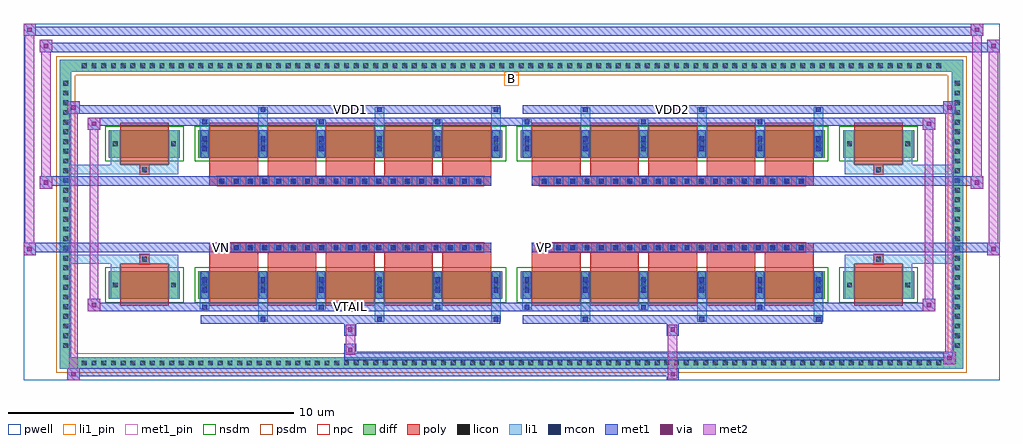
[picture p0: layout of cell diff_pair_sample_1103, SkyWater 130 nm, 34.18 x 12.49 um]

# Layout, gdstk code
import gdstk
lib = gdstk.Library(unit=1e-6, precision=5e-09)
def R(c, l, rs):  # rectangles x0, y0, x1, y1
    for r in rs: c.add(gdstk.rectangle(r[:2], r[2:], *l))
def A(c, l, x, y, w, h, nx, ny, dx, dy):  # array of equal rectangles
    R(c, l, [(x+i*dx, y+j*dy, x+i*dx+w, y+j*dy+h) for i in range(nx) for j in range(ny)])
def P(c, l, *ps):  # polygons
    for p in ps: c.add(gdstk.Polygon(p, *l))
pwell = (64, 44)
diff = (65, 20)
poly = (66, 20)
licon = (66, 44)
li1_pin = (67, 16)
li1 = (67, 20)
mcon = (67, 44)
met1_pin = (68, 16)
met1 = (68, 20)
via = (68, 44)
met2 = (69, 20)
nsdm = (93, 44)
psdm = (94, 20)
npc = (95, 20)

diff_pair_sample_1103 = lib.new_cell('diff_pair_sample_1103')
R(diff_pair_sample_1103, pwell, [(-17.09,-5.81,17.09,6.68), (-14.41,-4,-0.01,-0.8), (0.01,-4,14.41,-0.8), (-14.41,0.8,-0.01,4), (0.01,0.8,14.41,4)])
A(diff_pair_sample_1103, diff, -15.165, -5.41, 0.41, 0.41, 89, 2, 0.34, 10.41)
A(diff_pair_sample_1103, diff, -15.82, -4.795, 0.41, 0.41, 1, 28, 0, 0.34)
A(diff_pair_sample_1103, diff, 15.41, -4.795, 0.41, 0.41, 1, 28, 0, 0.34)
R(diff_pair_sample_1103, diff, [(-15.165,-5.41,15.165,-5), (-15.82,-4.795,-15.41,4.795), (15.41,-4.795,15.82,4.795), (-14.1,-2.955,-11.61,-1.985), (-10.97,-2.955,-0.32,-1.985), (0.32,-2.955,10.97,-1.985), (11.61,-2.955,14.1,-1.985), (-14.1,1.985,-11.61,2.955), (-10.97,1.985,-0.32,2.955), (0.32,1.985,10.97,2.955), (11.61,1.985,14.1,2.955), (-15.165,5,15.165,5.41)])
P(diff_pair_sample_1103, diff, [(15.82,5.41),(-15.82,5.41),(-15.82,-5),(-15.41,-5),(-15.41,5),(15.41,5),(15.41,-5),(-15.41,-5),(-15.82,-5),(-15.82,-5.41),(15.82,-5.41)])
A(diff_pair_sample_1103, poly, -10.58, -3.205, 1.71, 1.47, 5, 2, 2.04, 4.94)
A(diff_pair_sample_1103, poly, 0.71, -3.205, 1.71, 1.47, 5, 2, 2.04, 4.94)
A(diff_pair_sample_1103, poly, -10.58, -1.735, 1.71, 0.405, 5, 2, 2.04, 3.065)
A(diff_pair_sample_1103, poly, 0.71, -1.735, 1.71, 0.405, 5, 2, 2.04, 3.065)
A(diff_pair_sample_1103, poly, -10.31, -1.33, 0.33, 0.33, 19, 2, 0.5, 2.33)
A(diff_pair_sample_1103, poly, 0.98, -1.33, 0.33, 0.33, 19, 2, 0.5, 2.33)
R(diff_pair_sample_1103, poly, [(-13.71,-3.205,-12,-1.735), (12,-3.205,13.71,-1.735), (-13.02,-1.735,-12.69,-1.405), (-13.02,-1.735,-12.69,-1.405), (12.69,-1.735,13.02,-1.405), (12.69,-1.735,13.02,-1.405), (-10.58,-1.33,-0.71,-1), (0.71,-1.33,10.58,-1), (-10.58,1,-0.71,1.33), (0.71,1,10.58,1.33), (-13.02,1.405,-12.69,1.735), (-13.02,1.405,-12.69,1.735), (12.69,1.405,13.02,1.735), (12.69,1.405,13.02,1.735), (-13.71,1.735,-12,3.205), (12,1.735,13.71,3.205)])
A(diff_pair_sample_1103, licon, -15.045, -5.29, 0.17, 0.17, 89, 2, 0.34, 10.41)
A(diff_pair_sample_1103, licon, -15.7, -4.675, 0.17, 0.17, 1, 28, 0, 0.34)
A(diff_pair_sample_1103, licon, 15.53, -4.675, 0.17, 0.17, 1, 28, 0, 0.34)
A(diff_pair_sample_1103, licon, -10.83, -2.555, 0.17, 0.17, 6, 2, 2.04, 4.94)
A(diff_pair_sample_1103, licon, 0.46, -2.555, 0.17, 0.17, 6, 2, 2.04, 4.94)
A(diff_pair_sample_1103, licon, -10.23, -1.25, 0.17, 0.17, 19, 2, 0.5, 2.33)
A(diff_pair_sample_1103, licon, 1.06, -1.25, 0.17, 0.17, 19, 2, 0.5, 2.33)
R(diff_pair_sample_1103, licon, [(-13.96,-2.555,-13.79,-2.385), (-11.92,-2.555,-11.75,-2.385), (11.75,-2.555,11.92,-2.385), (13.79,-2.555,13.96,-2.385), (-12.94,-1.655,-12.77,-1.485), (12.77,-1.655,12.94,-1.485), (-12.94,1.485,-12.77,1.655), (12.77,1.485,12.94,1.655), (-13.96,2.385,-13.79,2.555), (-11.92,2.385,-11.75,2.555), (11.75,2.385,11.92,2.555), (13.79,2.385,13.96,2.555)])
R(diff_pair_sample_1103, li1_pin, [(-0.25,4.5,0.25,5)])
A(diff_pair_sample_1103, li1, -15.125, -5.37, 0.33, 0.33, 89, 2, 0.34, 10.41)
A(diff_pair_sample_1103, li1, -15.78, -4.755, 0.33, 0.33, 1, 28, 0, 0.34)
A(diff_pair_sample_1103, li1, 15.45, -4.755, 0.33, 0.33, 1, 28, 0, 0.34)
A(diff_pair_sample_1103, li1, -8.87, -3.76, 0.33, 0.805, 3, 2, 4.08, 6.715)
A(diff_pair_sample_1103, li1, -8.79, -3.76, 0.17, 0.17, 3, 2, 4.08, 7.35)
A(diff_pair_sample_1103, li1, 2.42, -3.76, 0.33, 0.805, 3, 2, 4.08, 6.715)
A(diff_pair_sample_1103, li1, 2.5, -3.76, 0.17, 0.17, 3, 2, 4.08, 7.35)
A(diff_pair_sample_1103, li1, -10.91, -3.33, 0.33, 0.375, 3, 2, 4.08, 6.285)
A(diff_pair_sample_1103, li1, -10.83, -3.33, 0.17, 0.17, 3, 2, 4.08, 6.49)
A(diff_pair_sample_1103, li1, 0.38, -3.33, 0.33, 0.375, 3, 2, 4.08, 6.285)
A(diff_pair_sample_1103, li1, 0.46, -3.33, 0.17, 0.17, 3, 2, 4.08, 6.49)
A(diff_pair_sample_1103, li1, -10.91, -2.955, 0.33, 0.97, 6, 2, 2.04, 4.94)
A(diff_pair_sample_1103, li1, 0.38, -2.955, 0.33, 0.97, 6, 2, 2.04, 4.94)
A(diff_pair_sample_1103, li1, -10.83, -2.735, 0.17, 0.17, 6, 2, 2.04, 0.36)
A(diff_pair_sample_1103, li1, -10.83, -2.735, 0.17, 0.53, 6, 2, 2.04, 4.94)
A(diff_pair_sample_1103, li1, 0.46, -2.735, 0.17, 0.17, 6, 2, 2.04, 0.36)
A(diff_pair_sample_1103, li1, 0.46, -2.735, 0.17, 0.53, 6, 2, 2.04, 4.94)
A(diff_pair_sample_1103, li1, -10.91, -2.635, 0.33, 0.33, 6, 2, 2.04, 4.94)
A(diff_pair_sample_1103, li1, 0.38, -2.635, 0.33, 0.33, 6, 2, 2.04, 4.94)
A(diff_pair_sample_1103, li1, -10.31, -1.33, 0.33, 0.33, 19, 2, 0.5, 2.33)
A(diff_pair_sample_1103, li1, 0.98, -1.33, 0.33, 0.33, 19, 2, 0.5, 2.33)
A(diff_pair_sample_1103, li1, -10.83, 2.205, 0.17, 0.17, 6, 2, 2.04, 0.36)
A(diff_pair_sample_1103, li1, 0.46, 2.205, 0.17, 0.17, 6, 2, 2.04, 0.36)
R(diff_pair_sample_1103, li1, [(-15.82,-5.41,-15.41,-5), (-15.82,-5.41,-15.41,-5), (-15.41,-5.41,15.41,-5), (15.41,-5.41,15.82,-5), (15.41,-5.41,15.82,-5), (-15.82,-5,-15.41,5), (15.41,-5,15.82,5), (-14.04,-2.955,-13.71,-1.985), (-12,-2.955,-11.67,-1.985), (11.67,-2.955,12,-1.985), (13.71,-2.955,14.04,-1.985), (-14.04,-2.635,-13.71,-2.305), (-12,-2.635,-11.67,-2.305), (11.67,-2.635,12,-2.305), (13.71,-2.635,14.04,-2.305), (-14.04,-1.985,-13.71,-1.405), (-12,-1.985,-11.67,-1.405), (11.67,-1.985,12,-1.405), (13.71,-1.985,14.04,-1.405), (-15.82,-1.735,-13.02,-1.405), (-14.04,-1.735,-13.02,-1.405), (-13.02,-1.735,-12.69,-1.405), (-12.69,-1.735,-11.67,-1.405), (11.67,-1.735,12.69,-1.405), (12.69,-1.735,13.02,-1.405), (12.69,-1.735,15.82,-1.405), (13.02,-1.735,14.04,-1.405), (-15.82,1.405,-13.02,1.735), (-14.04,1.405,-13.02,1.735), (-14.04,1.405,-13.71,1.985), (-13.02,1.405,-12.69,1.735), (-12.69,1.405,-11.67,1.735), (-12,1.405,-11.67,1.985), (11.67,1.405,12.69,1.735), (11.67,1.405,12,1.985), (12.69,1.405,13.02,1.735), (12.69,1.405,15.82,1.735), (13.02,1.405,14.04,1.735), (13.71,1.405,14.04,1.985), (-14.04,1.985,-13.71,2.955), (-12,1.985,-11.67,2.955), (11.67,1.985,12,2.955), (13.71,1.985,14.04,2.955), (-14.04,2.305,-13.71,2.635), (-12,2.305,-11.67,2.635), (11.67,2.305,12,2.635), (13.71,2.305,14.04,2.635), (-15.82,5,-15.41,5.41), (-15.82,5,-15.41,5.41), (-15.41,5,15.41,5.41), (15.41,5,15.82,5.41), (15.41,5,15.82,5.41)])
A(diff_pair_sample_1103, mcon, -8.79, -3.76, 0.17, 0.17, 3, 2, 4.08, 7.35)
A(diff_pair_sample_1103, mcon, 2.5, -3.76, 0.17, 0.17, 3, 2, 4.08, 7.35)
A(diff_pair_sample_1103, mcon, -10.83, -3.33, 0.17, 0.17, 3, 2, 4.08, 6.49)
A(diff_pair_sample_1103, mcon, 0.46, -3.33, 0.17, 0.17, 3, 2, 4.08, 6.49)
A(diff_pair_sample_1103, mcon, -10.83, -2.735, 0.17, 0.17, 6, 2, 2.04, 0.36)
A(diff_pair_sample_1103, mcon, 0.46, -2.735, 0.17, 0.17, 6, 2, 2.04, 0.36)
A(diff_pair_sample_1103, mcon, -10.23, -1.25, 0.17, 0.17, 19, 2, 0.5, 2.33)
A(diff_pair_sample_1103, mcon, 1.06, -1.25, 0.17, 0.17, 19, 2, 0.5, 2.33)
A(diff_pair_sample_1103, mcon, -10.83, 2.205, 0.17, 0.17, 6, 2, 2.04, 0.36)
A(diff_pair_sample_1103, mcon, 0.46, 2.205, 0.17, 0.17, 6, 2, 2.04, 0.36)
R(diff_pair_sample_1103, met1_pin, [(-5.78,-3.37,-5.51,-3.1), (-10.28,-1.29,-10.01,-1.02), (1.01,-1.29,1.28,-1.02), (-5.78,3.55,-5.51,3.82), (5.51,3.55,5.78,3.82)])
A(diff_pair_sample_1103, met1, -8.85, -3.82, 0.29, 0.29, 3, 2, 4.08, 7.35)
A(diff_pair_sample_1103, met1, 2.44, -3.82, 0.29, 0.29, 3, 2, 4.08, 7.35)
A(diff_pair_sample_1103, met1, -10.89, -3.39, 0.29, 0.29, 3, 2, 4.08, 6.49)
A(diff_pair_sample_1103, met1, 0.4, -3.39, 0.29, 0.29, 3, 2, 4.08, 6.49)
A(diff_pair_sample_1103, met1, -10.89, -2.955, 0.29, 0.97, 6, 2, 2.04, 4.94)
A(diff_pair_sample_1103, met1, 0.4, -2.955, 0.29, 0.97, 6, 2, 2.04, 4.94)
A(diff_pair_sample_1103, met1, -10.89, -2.795, 0.29, 0.29, 6, 2, 2.04, 0.36)
A(diff_pair_sample_1103, met1, 0.4, -2.795, 0.29, 0.29, 6, 2, 2.04, 0.36)
A(diff_pair_sample_1103, met1, -10.29, -1.31, 0.29, 0.29, 19, 2, 0.5, 2.33)
A(diff_pair_sample_1103, met1, 1, -1.31, 0.29, 0.29, 19, 2, 0.5, 2.33)
A(diff_pair_sample_1103, met1, -10.89, 2.145, 0.29, 0.29, 6, 2, 2.04, 0.36)
A(diff_pair_sample_1103, met1, 0.4, 2.145, 0.29, 0.29, 6, 2, 2.04, 0.36)
R(diff_pair_sample_1103, met1, [(-15.55,-5.81,-15.12,-5.38), (5.43,-5.81,5.86,-5.38), (-15.55,-5.67,5.86,-5.38), (15.12,-5.24,15.55,-4.81), (-5.86,-5.1,15.55,-4.81), (-5.86,-4.96,-5.43,-4.53), (-5.86,-4.25,-5.43,-3.82), (5.43,-4.25,5.86,-3.82), (-10.89,-3.82,-0.4,-3.53), (0.4,-3.82,10.89,-3.53), (-14.84,-3.39,-14.41,-2.96), (-14.84,-3.39,-10.89,-3.1), (-10.89,-3.39,-0.4,-3.1), (-0.4,-3.39,0.4,-3.1), (0.4,-3.39,10.89,-3.1), (10.89,-3.39,14.84,-3.1), (14.41,-3.39,14.84,-2.96), (-17.09,-1.43,-16.66,-1), (16.66,-1.43,17.09,-1), (-17.09,-1.33,-0.71,-1), (-10.58,-1.33,-0.71,-1), (0.71,-1.33,10.58,-1), (0.71,-1.33,17.09,-1), (-16.52,0.9,-16.09,1.33), (16.09,0.9,16.52,1.33), (-16.52,1,-10.58,1.33), (-10.58,1,-0.71,1.33), (0.71,1,10.58,1.33), (10.58,1,16.52,1.33), (-14.84,2.96,-14.41,3.39), (14.41,2.96,14.84,3.39), (-14.84,3.1,-10.89,3.39), (-10.89,3.1,-0.4,3.39), (-0.4,3.1,0.4,3.39), (0.4,3.1,10.89,3.39), (10.89,3.1,14.84,3.39), (-15.55,3.53,-15.12,3.96), (-15.55,3.53,-10.89,3.82), (-10.89,3.53,-0.4,3.82), (0.4,3.53,10.89,3.82), (10.89,3.53,15.55,3.82), (15.12,3.53,15.55,3.96), (-16.52,5.68,-16.09,6.11), (-16.52,5.68,-14.41,6.01), (-14.41,5.68,14.41,6.01), (14.41,5.68,17.09,6.01), (16.66,5.68,17.09,6.11), (-17.09,6.25,-16.66,6.68), (-17.09,6.25,-14.41,6.58), (-14.41,6.25,14.41,6.58), (14.41,6.25,16.52,6.58), (16.09,6.25,16.52,6.68)])
R(diff_pair_sample_1103, via, [(-15.41,-5.67,-15.26,-5.52), (5.57,-5.67,5.72,-5.52), (15.26,-5.1,15.41,-4.95), (-5.72,-4.82,-5.57,-4.67), (-5.72,-4.11,-5.57,-3.96), (5.57,-4.11,5.72,-3.96), (-14.7,-3.25,-14.55,-3.1), (14.55,-3.25,14.7,-3.1), (-16.95,-1.29,-16.8,-1.14), (16.8,-1.29,16.95,-1.14), (-16.38,1.04,-16.23,1.19), (16.23,1.04,16.38,1.19), (-14.7,3.1,-14.55,3.25), (14.55,3.1,14.7,3.25), (-15.41,3.67,-15.26,3.82), (15.26,3.67,15.41,3.82), (-16.38,5.82,-16.23,5.97), (16.8,5.82,16.95,5.97), (-16.95,6.39,-16.8,6.54), (16.23,6.39,16.38,6.54)])
R(diff_pair_sample_1103, met2, [(-15.55,-5.81,-15.12,-5.38), (-15.48,-5.81,-15.19,3.96), (-15.19,-5.81,-15.12,-5.38), (-15.5,-5.76,-15.17,-5.43), (5.48,-5.76,5.81,-5.43), (5.48,-5.43,5.81,-4.2), (15.12,-5.24,15.55,-4.81), (15.19,-5.24,15.48,3.96), (15.48,-5.24,15.55,-4.81), (15.17,-5.19,15.5,-4.86), (-5.81,-4.91,-5.48,-4.58), (-5.81,-4.58,-5.48,-4.2), (-5.81,-4.2,-5.48,-3.87), (5.48,-4.2,5.81,-3.87), (-14.84,-3.39,-14.41,-2.96), (-14.77,-3.39,-14.48,3.39), (-14.48,-3.39,-14.41,-2.96), (14.41,-3.39,14.84,-2.96), (14.48,-3.39,14.77,3.39), (14.77,-3.39,14.84,-2.96), (-14.79,-3.34,-14.46,-3.01), (14.46,-3.34,14.79,-3.01), (-17.09,-1.43,-16.66,-1), (-17.04,-1.43,-16.71,6.68), (-16.71,-1.43,-16.66,-1), (16.66,-1.43,17.09,-1), (16.71,-1.43,17.04,6.11), (17.04,-1.43,17.09,-1), (-17.04,-1.38,-16.71,-1.05), (16.71,-1.38,17.04,-1.05), (-16.52,0.9,-16.09,1.33), (-16.47,0.9,-16.14,6.11), (-16.14,0.9,-16.09,1.33), (16.09,0.9,16.52,1.33), (16.14,0.9,16.47,6.68), (16.47,0.9,16.52,1.33), (-16.47,0.95,-16.14,1.28), (16.14,0.95,16.47,1.28), (-14.84,2.96,-14.41,3.39), (-14.48,2.96,-14.41,3.39), (14.41,2.96,14.84,3.39), (14.77,2.96,14.84,3.39), (-14.79,3.01,-14.46,3.34), (14.46,3.01,14.79,3.34), (-15.55,3.53,-15.12,3.96), (-15.19,3.53,-15.12,3.96), (15.12,3.53,15.55,3.96), (15.48,3.53,15.55,3.96), (-15.5,3.58,-15.17,3.91), (15.17,3.58,15.5,3.91), (-16.52,5.68,-16.09,6.11), (-16.14,5.68,-16.09,6.11), (16.66,5.68,17.09,6.11), (17.04,5.68,17.09,6.11), (-16.47,5.73,-16.14,6.06), (16.71,5.73,17.04,6.06), (-17.09,6.25,-16.66,6.68), (-16.71,6.25,-16.66,6.68), (16.09,6.25,16.52,6.68), (16.47,6.25,16.52,6.68), (-17.04,6.3,-16.71,6.63), (16.14,6.3,16.47,6.63)])
R(diff_pair_sample_1103, nsdm, [(-14.23,-3.085,-11.48,-1.855), (-11.1,-3.085,-0.19,-1.855), (0.19,-3.085,11.1,-1.855), (11.48,-3.085,14.23,-1.855), (-14.23,1.855,-11.48,3.085), (-11.1,1.855,-0.19,3.085), (0.19,1.855,11.1,3.085), (11.48,1.855,14.23,3.085)])
P(diff_pair_sample_1103, psdm, [(15.95,5.54),(-15.95,5.54),(-15.95,-4.87),(-15.28,-4.87),(-15.28,4.87),(15.28,4.87),(15.28,-4.87),(-15.28,-4.87),(-15.95,-4.87),(-15.95,-5.54),(15.95,-5.54)])
A(diff_pair_sample_1103, npc, -10.33, -1.35, 0.37, 0.37, 19, 2, 0.5, 2.33)
A(diff_pair_sample_1103, npc, 0.96, -1.35, 0.37, 0.37, 19, 2, 0.5, 2.33)
R(diff_pair_sample_1103, npc, [(-13.04,-1.755,-12.67,-1.385), (12.67,-1.755,13.04,-1.385), (-10.33,-1.35,-9.46,-0.98), (-10.33,-1.35,-9.46,-0.98), (-9.83,-1.35,-8.96,-0.98), (-9.83,-1.35,-8.96,-0.98), (-9.33,-1.35,-8.46,-0.98), (-9.33,-1.35,-8.46,-0.98), (-8.83,-1.35,-7.96,-0.98), (-8.83,-1.35,-7.96,-0.98), (-8.33,-1.35,-7.46,-0.98), (-8.33,-1.35,-7.46,-0.98), (-7.83,-1.35,-6.96,-0.98), (-7.83,-1.35,-6.96,-0.98), (-7.33,-1.35,-6.46,-0.98), (-7.33,-1.35,-6.46,-0.98), (-6.83,-1.35,-5.96,-0.98), (-6.83,-1.35,-5.96,-0.98), (-6.33,-1.35,-5.46,-0.98), (-6.33,-1.35,-5.46,-0.98), (-5.83,-1.35,-4.96,-0.98), (-5.83,-1.35,-4.96,-0.98), (-5.33,-1.35,-4.46,-0.98), (-5.33,-1.35,-4.46,-0.98), (-4.83,-1.35,-3.96,-0.98), (-4.83,-1.35,-3.96,-0.98), (-4.33,-1.35,-3.46,-0.98), (-4.33,-1.35,-3.46,-0.98), (-3.83,-1.35,-2.96,-0.98), (-3.83,-1.35,-2.96,-0.98), (-3.33,-1.35,-2.46,-0.98), (-3.33,-1.35,-2.46,-0.98), (-2.83,-1.35,-1.96,-0.98), (-2.83,-1.35,-1.96,-0.98), (-2.33,-1.35,-1.46,-0.98), (-2.33,-1.35,-1.46,-0.98), (-1.83,-1.35,-0.96,-0.98), (-1.83,-1.35,-0.96,-0.98), (0.96,-1.35,1.83,-0.98), (0.96,-1.35,1.83,-0.98), (1.46,-1.35,2.33,-0.98), (1.46,-1.35,2.33,-0.98), (1.96,-1.35,2.83,-0.98), (1.96,-1.35,2.83,-0.98), (2.46,-1.35,3.33,-0.98), (2.46,-1.35,3.33,-0.98), (2.96,-1.35,3.83,-0.98), (2.96,-1.35,3.83,-0.98), (3.46,-1.35,4.33,-0.98), (3.46,-1.35,4.33,-0.98), (3.96,-1.35,4.83,-0.98), (3.96,-1.35,4.83,-0.98), (4.46,-1.35,5.33,-0.98), (4.46,-1.35,5.33,-0.98), (4.96,-1.35,5.83,-0.98), (4.96,-1.35,5.83,-0.98), (5.46,-1.35,6.33,-0.98), (5.46,-1.35,6.33,-0.98), (5.96,-1.35,6.83,-0.98), (5.96,-1.35,6.83,-0.98), (6.46,-1.35,7.33,-0.98), (6.46,-1.35,7.33,-0.98), (6.96,-1.35,7.83,-0.98), (6.96,-1.35,7.83,-0.98), (7.46,-1.35,8.33,-0.98), (7.46,-1.35,8.33,-0.98), (7.96,-1.35,8.83,-0.98), (7.96,-1.35,8.83,-0.98), (8.46,-1.35,9.33,-0.98), (8.46,-1.35,9.33,-0.98), (8.96,-1.35,9.83,-0.98), (8.96,-1.35,9.83,-0.98), (9.46,-1.35,10.33,-0.98), (9.46,-1.35,10.33,-0.98), (-10.33,0.98,-9.46,1.35), (-10.33,0.98,-9.46,1.35), (-9.83,0.98,-8.96,1.35), (-9.83,0.98,-8.96,1.35), (-9.33,0.98,-8.46,1.35), (-9.33,0.98,-8.46,1.35), (-8.83,0.98,-7.96,1.35), (-8.83,0.98,-7.96,1.35), (-8.33,0.98,-7.46,1.35), (-8.33,0.98,-7.46,1.35), (-7.83,0.98,-6.96,1.35), (-7.83,0.98,-6.96,1.35), (-7.33,0.98,-6.46,1.35), (-7.33,0.98,-6.46,1.35), (-6.83,0.98,-5.96,1.35), (-6.83,0.98,-5.96,1.35), (-6.33,0.98,-5.46,1.35), (-6.33,0.98,-5.46,1.35), (-5.83,0.98,-4.96,1.35), (-5.83,0.98,-4.96,1.35), (-5.33,0.98,-4.46,1.35), (-5.33,0.98,-4.46,1.35), (-4.83,0.98,-3.96,1.35), (-4.83,0.98,-3.96,1.35), (-4.33,0.98,-3.46,1.35), (-4.33,0.98,-3.46,1.35), (-3.83,0.98,-2.96,1.35), (-3.83,0.98,-2.96,1.35), (-3.33,0.98,-2.46,1.35), (-3.33,0.98,-2.46,1.35), (-2.83,0.98,-1.96,1.35), (-2.83,0.98,-1.96,1.35), (-2.33,0.98,-1.46,1.35), (-2.33,0.98,-1.46,1.35), (-1.83,0.98,-0.96,1.35), (-1.83,0.98,-0.96,1.35), (0.96,0.98,1.83,1.35), (0.96,0.98,1.83,1.35), (1.46,0.98,2.33,1.35), (1.46,0.98,2.33,1.35), (1.96,0.98,2.83,1.35), (1.96,0.98,2.83,1.35), (2.46,0.98,3.33,1.35), (2.46,0.98,3.33,1.35), (2.96,0.98,3.83,1.35), (2.96,0.98,3.83,1.35), (3.46,0.98,4.33,1.35), (3.46,0.98,4.33,1.35), (3.96,0.98,4.83,1.35), (3.96,0.98,4.83,1.35), (4.46,0.98,5.33,1.35), (4.46,0.98,5.33,1.35), (4.96,0.98,5.83,1.35), (4.96,0.98,5.83,1.35), (5.46,0.98,6.33,1.35), (5.46,0.98,6.33,1.35), (5.96,0.98,6.83,1.35), (5.96,0.98,6.83,1.35), (6.46,0.98,7.33,1.35), (6.46,0.98,7.33,1.35), (6.96,0.98,7.83,1.35), (6.96,0.98,7.83,1.35), (7.46,0.98,8.33,1.35), (7.46,0.98,8.33,1.35), (7.96,0.98,8.83,1.35), (7.96,0.98,8.83,1.35), (8.46,0.98,9.33,1.35), (8.46,0.98,9.33,1.35), (8.96,0.98,9.83,1.35), (8.96,0.98,9.83,1.35), (9.46,0.98,10.33,1.35), (9.46,0.98,10.33,1.35), (-13.04,1.385,-12.67,1.755), (12.67,1.385,13.04,1.755)])
diff_pair_sample_1103.add(gdstk.Label('VTAIL', (-5.645,-3.235), layer=68, texttype=5))
diff_pair_sample_1103.add(gdstk.Label('VN', (-10.145,-1.155), layer=68, texttype=5))
diff_pair_sample_1103.add(gdstk.Label('VP', (1.145,-1.155), layer=68, texttype=5))
diff_pair_sample_1103.add(gdstk.Label('B', (0,4.75), layer=67, texttype=5))
diff_pair_sample_1103.add(gdstk.Label('VDD2', (5.645,3.685), layer=68, texttype=5))
diff_pair_sample_1103.add(gdstk.Label('VDD1', (-5.645,3.685), layer=68, texttype=5))

lib.write_gds('diff_pair_sample_1103.gds')
